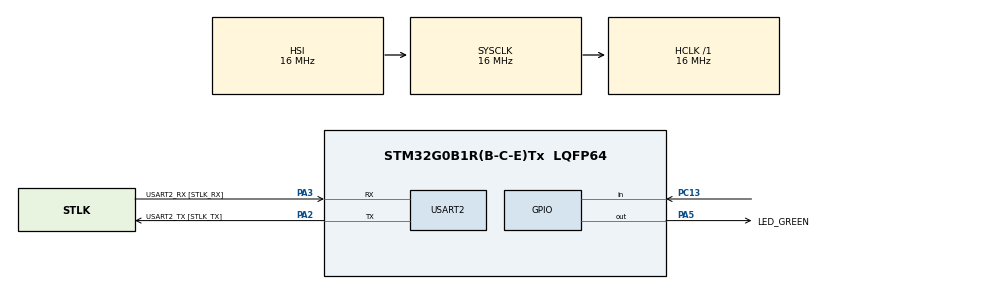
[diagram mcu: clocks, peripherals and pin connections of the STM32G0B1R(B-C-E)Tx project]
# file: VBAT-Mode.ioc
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IWDG.Prescaler=IWDG_PRESCALER_256
IWDG.Reload=500
Mcu.Family=STM32G0
Mcu.Name=STM32G0B1R(B-C-E)Tx
Mcu.Package=LQFP64
PA13.GPIO_Label=TMS
PA13.Mode=Serial_Wire
PA13.Signal=SYS_SWDIO
PA14-BOOT0.GPIO_Label=TCK
PA14-BOOT0.Mode=Serial_Wire
PA14-BOOT0.Signal=SYS_SWCLK
PA2.GPIO_Label=USART2_TX [STLK_TX]
PA2.Mode=Asynchronous
PA2.Signal=USART2_TX
PA3.GPIO_Label=USART2_RX [STLK_RX]
PA3.Mode=Asynchronous
PA3.Signal=USART2_RX
PA5.GPIO_Label=LED_GREEN
PA5.GPIO_Speed=GPIO_SPEED_FREQ_HIGH
PA5.Signal=GPIO_Output
PC13.Signal=GPIO_Input
PC14-OSC32_IN\ (PC14).Mode=LSE-External-Oscillator
PC14-OSC32_IN\ (PC14).Signal=RCC_OSC32_IN
PC15-OSC32_OUT\ (PC15).Mode=LSE-External-Oscillator
PC15-OSC32_OUT\ (PC15).Signal=RCC_OSC32_OUT
PF0-OSC_IN\ (PF0).GPIO_Label=MCO
PF0-OSC_IN\ (PF0).Mode=HSE-External-Clock-Source
PF0-OSC_IN\ (PF0).Signal=RCC_OSC_IN
ProjectManager.HeapSize=0x200
ProjectManager.StackSize=0x400
ProjectManager.TargetToolchain=STM32CubeIDE
RCC.AHBFreq_Value=16000000
RCC.CortexFreq_Value=16000000
RCC.EXTERNAL_CLOCK_VALUE=12288000
RCC.HCLKFreq_Value=16000000
RCC.HSE_VALUE=8000000
RCC.HSI48_VALUE=48000000
RCC.HSI_VALUE=16000000
RCC.RTCClockSelection=RCC_RTCCLKSOURCE_LSE
RCC.SYSCLKFreq_VALUE=16000000
RCC.USBFreq_Value=48000000
RCC.VCOOutputFreq_Value=128000000
RTC.Date=28
RTC.WeekDay=RTC_WEEKDAY_WEDNESDAY
RTC.Year=26
USART2.VirtualMode-Asynchronous=VM_ASYNC
VP_IWDG_VS_IWDG.Mode=IWDG_Activate
VP_RTC_VS_RTC_Activate.Mode=RTC_Enabled
VP_RTC_VS_RTC_Calendar.Mode=RTC_Calendar
VP_SYS_VS_DBSignals.Mode=DisableDeadBatterySignals
board=NUCLEO-G0B1RE

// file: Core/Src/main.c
/* USER CODE BEGIN Header */
/**
  ******************************************************************************
  * @file           : main.c
  * @brief          : Main program body
  ******************************************************************************
  * @attention
  *
  * Copyright (c) 2026 STMicroelectronics.
  * All rights reserved.
  *
  * This software is licensed under terms that can be found in the LICENSE file
  * in the root directory of this software component.
  * If no LICENSE file comes with this software, it is provided AS-IS.
  *
  ******************************************************************************
  */
/* USER CODE END Header */
#include "main.h"

/* USER CODE BEGIN Includes */
#include <stdio.h>
/* USER CODE END Includes */

IWDG_HandleTypeDef hiwdg;

RTC_HandleTypeDef hrtc;

UART_HandleTypeDef huart2;

/* USER CODE BEGIN PV */
uint8_t delay = 200;
RTC_TimeTypeDef hTime = {0};
RTC_DateTypeDef hDate = {0};

/* USER CODE END PV */

void SystemClock_Config(void);
static void MX_GPIO_Init(void);
static void MX_USART2_UART_Init(void);
static void MX_RTC_Init(void);
static void MX_IWDG_Init(void);

int main(void)
{

  /* USER CODE BEGIN 1 */
	uint8_t count = 0;
  /* USER CODE END 1 */

  /* MCU Configuration--------------------------------------------------------*/

  /* Reset of all peripherals, Initializes the Flash interface and the Systick. */
  HAL_Init();

  /* Configure the system clock */
  SystemClock_Config();

  /* Initialize all configured peripherals */
  MX_GPIO_Init();
  MX_USART2_UART_Init();
  MX_RTC_Init();
  MX_IWDG_Init();
  /* USER CODE BEGIN 2 */
  HAL_PWREx_EnableBatteryCharging(PWR_BATTERY_CHARGING_RESISTOR_1_5);		// Charging Supercapacitor
  /* USER CODE END 2 */

  /* Infinite loop */
  /* USER CODE BEGIN WHILE */
  while (1)
  {
	  // Toggle Led Pin
	  HAL_Delay(delay);
	  HAL_GPIO_TogglePin(LED_GREEN_GPIO_Port, LED_GREEN_Pin);

	  // Obtain the Date and Time
	  HAL_RTC_GetDate(&hrtc, &hDate, RTC_FORMAT_BIN);
	  HAL_RTC_GetTime(&hrtc, &hTime, RTC_FORMAT_BIN);

	  count++;
	  if(count == 10){
		  count = 0;
		  printf("%02d:%02d:%02d  %02d/%02d/20%02d\r\n",
				  hTime.Hours,
				  hTime.Minutes,
				  hTime.Seconds,
				  hDate.Date,
				  hDate.Month,
				  hDate.Year);
	  }

	  HAL_IWDG_Refresh(&hiwdg);		// Refresh IWDG

    /* USER CODE END WHILE */

  }
}

void SystemClock_Config(void)
{
  RCC_OscInitTypeDef RCC_OscInitStruct = {0};
  RCC_ClkInitTypeDef RCC_ClkInitStruct = {0};

  /** Configure the main internal regulator output voltage
  */
  HAL_PWREx_ControlVoltageScaling(PWR_REGULATOR_VOLTAGE_SCALE1);

  /** Configure LSE Drive Capability
  */
  HAL_PWR_EnableBkUpAccess();
  __HAL_RCC_LSEDRIVE_CONFIG(RCC_LSEDRIVE_LOW);

  /** Initializes the RCC Oscillators according to the specified parameters
  * in the RCC_OscInitTypeDef structure.
  */
  RCC_OscInitStruct.OscillatorType = RCC_OSCILLATORTYPE_HSI|RCC_OSCILLATORTYPE_LSI
                              |RCC_OSCILLATORTYPE_LSE;
  RCC_OscInitStruct.LSEState = RCC_LSE_ON;
  RCC_OscInitStruct.HSIState = RCC_HSI_ON;
  RCC_OscInitStruct.HSIDiv = RCC_HSI_DIV1;
  RCC_OscInitStruct.HSICalibrationValue = RCC_HSICALIBRATION_DEFAULT;
  RCC_OscInitStruct.LSIState = RCC_LSI_ON;
  RCC_OscInitStruct.PLL.PLLState = RCC_PLL_NONE;
  if (HAL_RCC_OscConfig(&RCC_OscInitStruct) != HAL_OK)
  {
    Error_Handler();
  }

  /** Initializes the CPU, AHB and APB buses clocks
  */
  RCC_ClkInitStruct.ClockType = RCC_CLOCKTYPE_HCLK|RCC_CLOCKTYPE_SYSCLK
                              |RCC_CLOCKTYPE_PCLK1;
  RCC_ClkInitStruct.SYSCLKSource = RCC_SYSCLKSOURCE_HSI;
  RCC_ClkInitStruct.AHBCLKDivider = RCC_SYSCLK_DIV1;
  RCC_ClkInitStruct.APB1CLKDivider = RCC_HCLK_DIV1;

  if (HAL_RCC_ClockConfig(&RCC_ClkInitStruct, FLASH_LATENCY_0) != HAL_OK)
  {
    Error_Handler();
  }
}

static void MX_IWDG_Init(void)
{

  hiwdg.Instance = IWDG;
  hiwdg.Init.Prescaler = IWDG_PRESCALER_256;
  hiwdg.Init.Window = 4095;
  hiwdg.Init.Reload = 500;
  if (HAL_IWDG_Init(&hiwdg) != HAL_OK)
  {
    Error_Handler();
  }

}

static void MX_RTC_Init(void)
{

  RTC_TimeTypeDef sTime = {0};
  RTC_DateTypeDef sDate = {0};

  /** Initialize RTC Only
  */
  hrtc.Instance = RTC;
  hrtc.Init.HourFormat = RTC_HOURFORMAT_24;
  hrtc.Init.AsynchPrediv = 127;
  hrtc.Init.SynchPrediv = 255;
  hrtc.Init.OutPut = RTC_OUTPUT_DISABLE;
  hrtc.Init.OutPutRemap = RTC_OUTPUT_REMAP_NONE;
  hrtc.Init.OutPutPolarity = RTC_OUTPUT_POLARITY_HIGH;
  hrtc.Init.OutPutType = RTC_OUTPUT_TYPE_OPENDRAIN;
  hrtc.Init.OutPutPullUp = RTC_OUTPUT_PULLUP_NONE;
  if (HAL_RTC_Init(&hrtc) != HAL_OK)
  {
    Error_Handler();
  }

  /* USER CODE BEGIN Check_RTC_BKUP */
  if (HAL_RTCEx_BKUPRead(&hrtc, RTC_BKP_DR0) == 2244)
  	  return;
  /* USER CODE END Check_RTC_BKUP */

  /** Initialize RTC and set the Time and Date
  */
  sTime.Hours = 0x0;
  sTime.Minutes = 0x0;
  sTime.Seconds = 0x0;
  sTime.SubSeconds = 0x0;
  sTime.DayLightSaving = RTC_DAYLIGHTSAVING_NONE;
  sTime.StoreOperation = RTC_STOREOPERATION_RESET;
  if (HAL_RTC_SetTime(&hrtc, &sTime, RTC_FORMAT_BCD) != HAL_OK)
  {
    Error_Handler();
  }
  sDate.WeekDay = RTC_WEEKDAY_WEDNESDAY;
  sDate.Month = RTC_MONTH_JANUARY;
  sDate.Date = 0x28;
  sDate.Year = 0x26;

  if (HAL_RTC_SetDate(&hrtc, &sDate, RTC_FORMAT_BCD) != HAL_OK)
  {
    Error_Handler();
  }
  /* USER CODE BEGIN RTC_Init 2 */
  HAL_RTCEx_BKUPWrite(&hrtc, RTC_BKP_DR0, 2244);
  /* USER CODE END RTC_Init 2 */

}

static void MX_USART2_UART_Init(void)
{

  huart2.Instance = USART2;
  huart2.Init.BaudRate = 115200;
  huart2.Init.WordLength = UART_WORDLENGTH_8B;
  huart2.Init.StopBits = UART_STOPBITS_1;
  huart2.Init.Parity = UART_PARITY_NONE;
  huart2.Init.Mode = UART_MODE_TX_RX;
  huart2.Init.HwFlowCtl = UART_HWCONTROL_NONE;
  huart2.Init.OverSampling = UART_OVERSAMPLING_16;
  huart2.Init.OneBitSampling = UART_ONE_BIT_SAMPLE_DISABLE;
  huart2.Init.ClockPrescaler = UART_PRESCALER_DIV1;
  huart2.AdvancedInit.AdvFeatureInit = UART_ADVFEATURE_NO_INIT;
  if (HAL_UART_Init(&huart2) != HAL_OK)
  {
    Error_Handler();
  }
  if (HAL_UARTEx_SetTxFifoThreshold(&huart2, UART_TXFIFO_THRESHOLD_1_8) != HAL_OK)
  {
    Error_Handler();
  }
  if (HAL_UARTEx_SetRxFifoThreshold(&huart2, UART_RXFIFO_THRESHOLD_1_8) != HAL_OK)
  {
    Error_Handler();
  }
  if (HAL_UARTEx_DisableFifoMode(&huart2) != HAL_OK)
  {
    Error_Handler();
  }

}

static void MX_GPIO_Init(void)
{
  GPIO_InitTypeDef GPIO_InitStruct = {0};

  /* GPIO Ports Clock Enable */
  __HAL_RCC_GPIOC_CLK_ENABLE();
  __HAL_RCC_GPIOF_CLK_ENABLE();
  __HAL_RCC_GPIOA_CLK_ENABLE();
  __HAL_RCC_GPIOB_CLK_ENABLE();
  __HAL_RCC_GPIOD_CLK_ENABLE();

  /*Configure GPIO pin Output Level */
  HAL_GPIO_WritePin(LED_GREEN_GPIO_Port, LED_GREEN_Pin, GPIO_PIN_RESET);

  /*Configure GPIO pins : PC11 PC12 PC0 PC1
                           PC2 PC3 PC4 PC5
                           PC6 PC7 PC8 PC9
                           PC10 */
  GPIO_InitStruct.Pin = GPIO_PIN_11|GPIO_PIN_12|GPIO_PIN_0|GPIO_PIN_1
                          |GPIO_PIN_2|GPIO_PIN_3|GPIO_PIN_4|GPIO_PIN_5
                          |GPIO_PIN_6|GPIO_PIN_7|GPIO_PIN_8|GPIO_PIN_9
                          |GPIO_PIN_10;
  GPIO_InitStruct.Mode = GPIO_MODE_ANALOG;
  GPIO_InitStruct.Pull = GPIO_NOPULL;
  HAL_GPIO_Init(GPIOC, &GPIO_InitStruct);

  /*Configure GPIO pin : PC13 */
  GPIO_InitStruct.Pin = GPIO_PIN_13;
  GPIO_InitStruct.Mode = GPIO_MODE_INPUT;
  GPIO_InitStruct.Pull = GPIO_NOPULL;
  HAL_GPIO_Init(GPIOC, &GPIO_InitStruct);

  /*Configure GPIO pins : PF1 PF2 */
  GPIO_InitStruct.Pin = GPIO_PIN_1|GPIO_PIN_2;
  GPIO_InitStruct.Mode = GPIO_MODE_ANALOG;
  GPIO_InitStruct.Pull = GPIO_NOPULL;
  HAL_GPIO_Init(GPIOF, &GPIO_InitStruct);

  /*Configure GPIO pins : PA0 PA1 PA4 PA6
                           PA7 PA8 PA9 PA10
                           PA11 PA12 PA15 */
  GPIO_InitStruct.Pin = GPIO_PIN_0|GPIO_PIN_1|GPIO_PIN_4|GPIO_PIN_6
                          |GPIO_PIN_7|GPIO_PIN_8|GPIO_PIN_9|GPIO_PIN_10
                          |GPIO_PIN_11|GPIO_PIN_12|GPIO_PIN_15;
  GPIO_InitStruct.Mode = GPIO_MODE_ANALOG;
  GPIO_InitStruct.Pull = GPIO_NOPULL;
  HAL_GPIO_Init(GPIOA, &GPIO_InitStruct);

  /*Configure GPIO pin : LED_GREEN_Pin */
  GPIO_InitStruct.Pin = LED_GREEN_Pin;
  GPIO_InitStruct.Mode = GPIO_MODE_OUTPUT_PP;
  GPIO_InitStruct.Pull = GPIO_NOPULL;
  GPIO_InitStruct.Speed = GPIO_SPEED_FREQ_HIGH;
  HAL_GPIO_Init(LED_GREEN_GPIO_Port, &GPIO_InitStruct);

  /*Configure GPIO pins : PB0 PB1 PB2 PB10
                           PB11 PB12 PB13 PB14
                           PB15 PB3 PB4 PB5
                           PB6 PB7 PB8 PB9 */
  GPIO_InitStruct.Pin = GPIO_PIN_0|GPIO_PIN_1|GPIO_PIN_2|GPIO_PIN_10
                          |GPIO_PIN_11|GPIO_PIN_12|GPIO_PIN_13|GPIO_PIN_14
                          |GPIO_PIN_15|GPIO_PIN_3|GPIO_PIN_4|GPIO_PIN_5
                          |GPIO_PIN_6|GPIO_PIN_7|GPIO_PIN_8|GPIO_PIN_9;
  GPIO_InitStruct.Mode = GPIO_MODE_ANALOG;
  GPIO_InitStruct.Pull = GPIO_NOPULL;
  HAL_GPIO_Init(GPIOB, &GPIO_InitStruct);

  /*Configure GPIO pins : PD8 PD9 PD0 PD1
                           PD2 PD3 PD4 PD5
                           PD6 */
  GPIO_InitStruct.Pin = GPIO_PIN_8|GPIO_PIN_9|GPIO_PIN_0|GPIO_PIN_1
                          |GPIO_PIN_2|GPIO_PIN_3|GPIO_PIN_4|GPIO_PIN_5
                          |GPIO_PIN_6;
  GPIO_InitStruct.Mode = GPIO_MODE_ANALOG;
  GPIO_InitStruct.Pull = GPIO_NOPULL;
  HAL_GPIO_Init(GPIOD, &GPIO_InitStruct);

}

/* USER CODE BEGIN 4 */
int _write(int file, char *ptr, int len)
{
    HAL_UART_Transmit(&huart2, (uint8_t*)ptr, len, HAL_MAX_DELAY);
    return len;
}
/* USER CODE END 4 */

void Error_Handler(void)
{
  __disable_irq();
  while (1)
  {
  }
}
